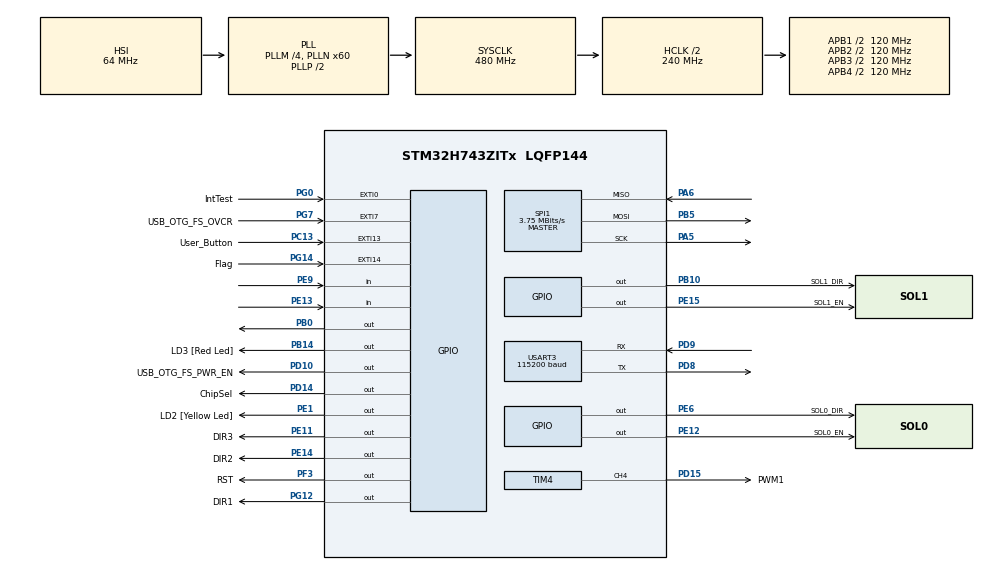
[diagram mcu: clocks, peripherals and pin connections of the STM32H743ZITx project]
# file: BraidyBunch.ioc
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CORTEX_M7.CPU_DCache=Enabled
CORTEX_M7.CPU_ICache=Enabled
FREERTOS.Tasks01=defaultTask,0,128,StartDefaultTask,Default,NULL,Dynamic,NULL,NULL
FREERTOS.configTOTAL_HEAP_SIZE=65534
Mcu.Family=STM32H7
Mcu.Name=STM32H743ZITx
Mcu.Package=LQFP144
NVIC.EXTI0_IRQn=true\:5\:0\:false\:false\:true\:true\:true\:true
NVIC.EXTI15_10_IRQn=true\:5\:0\:false\:false\:true\:true\:true\:true
NVIC.EXTI9_5_IRQn=true\:5\:0\:false\:false\:true\:true\:true\:true
NVIC.PriorityGroup=NVIC_PRIORITYGROUP_4
NVIC.TIM1_CC_IRQn=true\:5\:0\:false\:false\:true\:true\:true\:true
NVIC.TIM1_TRG_COM_IRQn=true\:5\:0\:false\:false\:true\:true\:true\:true
NVIC.TIM1_UP_IRQn=true\:5\:0\:false\:false\:true\:true\:true\:true
NVIC.TIM4_IRQn=true\:5\:0\:false\:false\:true\:true\:true\:true
NVIC.TIM8_UP_TIM13_IRQn=true\:0\:0\:false\:false\:true\:false\:false\:true
NVIC.TimeBase=TIM8_UP_TIM13_IRQn
NVIC.TimeBaseIP=TIM8
NVIC.USART3_IRQn=true\:5\:0\:false\:false\:true\:true\:true\:true
PA1.Signal=ETH_RX_CLK
PA2.Signal=ETH_MDIO
PA5.Mode=Full_Duplex_Master
PA5.Signal=SPI1_SCK
PA6.Mode=Full_Duplex_Master
PA6.Signal=SPI1_MISO
PA7.Signal=ETH_RX_DV
PB0.PinState=GPIO_PIN_SET
PB0.Signal=GPIO_Output
PB10.GPIO_Label=SOL1_DIR
PB10.Signal=GPIO_Output
PB13.Signal=ETH_TXD1
PB14.GPIO_Label=LD3 [Red Led]
PB14.PinState=GPIO_PIN_SET
PB14.Signal=GPIO_Output
PB5.Mode=Full_Duplex_Master
PB5.Signal=SPI1_MOSI
PC1.Signal=ETH_MDC
PC13.GPIO_Label=User_Button
PC13.GPIO_ModeDefaultEXTI=GPIO_MODE_IT_RISING
PC13.Signal=GPXTI13
PC4.Signal=ETH_RXD0
PC5.Signal=ETH_RXD1
PD10.GPIO_Label=USB_OTG_FS_PWR_EN
PD10.Signal=GPIO_Output
PD14.GPIO_Label=ChipSel
PD14.Signal=GPIO_Output
PD15.GPIO_Label=PWM1
PD15.Signal=S_TIM4_CH4
PD8.GPIO_Speed=GPIO_SPEED_FREQ_VERY_HIGH
PD8.Mode=Asynchronous
PD8.Signal=USART3_TX
PD9.GPIO_Speed=GPIO_SPEED_FREQ_VERY_HIGH
PD9.Mode=Asynchronous
PD9.Signal=USART3_RX
PE1.GPIO_Label=LD2 [Yellow Led]
PE1.PinState=GPIO_PIN_SET
PE1.Signal=GPIO_Output
PE11.GPIO_Label=DIR3
PE11.Signal=GPIO_Output
PE12.GPIO_Label=SOL0_EN
PE12.PinState=GPIO_PIN_RESET
PE12.Signal=GPIO_Output
PE13.Signal=GPIO_Input
PE14.GPIO_Label=DIR2
PE14.Signal=GPIO_Output
PE15.GPIO_Label=SOL1_EN
PE15.Signal=GPIO_Output
PE6.GPIO_Label=SOL0_DIR
PE6.Signal=GPIO_Output
PE9.Signal=GPIO_Input
PF3.GPIO_Label=RST
PF3.PinState=GPIO_PIN_SET
PF3.Signal=GPIO_Output
PG0.GPIO_Label=IntTest
PG0.Signal=GPXTI0
PG11.Signal=ETH_TX_EN
PG12.GPIO_Label=DIR1
PG12.Signal=GPIO_Output
PG13.Signal=ETH_TXD0
PG14.GPIO_Label=Flag
PG14.GPIO_ModeDefaultEXTI=GPIO_MODE_IT_FALLING
PG14.Signal=GPXTI14
PG7.GPIO_Label=USB_OTG_FS_OVCR
PG7.Signal=GPXTI7
ProjectManager.HeapSize=0x200
ProjectManager.StackSize=0x400
ProjectManager.TargetToolchain=MDK-ARM V5
RCC.ADCFreq_Value=129000000
RCC.APB1Freq_Value=120000000
RCC.APB2Freq_Value=120000000
RCC.APB3Freq_Value=120000000
RCC.APB4Freq_Value=120000000
RCC.CortexFreq_Value=480000000
RCC.D1PPRE=RCC_APB3_DIV2
RCC.D2PPRE1=RCC_APB1_DIV2
RCC.D2PPRE2=RCC_APB2_DIV2
RCC.D3PPRE=RCC_APB4_DIV2
RCC.DIVM1=4
RCC.DIVN1=60
RCC.HCLKFreq_Value=240000000
RCC.HPRE=RCC_HCLK_DIV2
RCC.PLL2FRACN=0
RCC.PLL3FRACN=0
RCC.PLLFRACN=0
RCC.SYSCLKFreq_VALUE=480000000
RCC.SYSCLKSource=RCC_SYSCLKSOURCE_PLLCLK
RCC.USBCLockSelection=RCC_USBCLKSOURCE_HSI48
RCC.USBFreq_Value=48000000
SH.S_TIM4_CH4.0=TIM4_CH4,PWM Generation4 CH4
SPI1.BaudRatePrescaler=SPI_BAUDRATEPRESCALER_128
SPI1.CalculateBaudRate=3.75 MBits/s
SPI1.DataSize=SPI_DATASIZE_8BIT
SPI1.Direction=SPI_DIRECTION_2LINES
SPI1.Mode=SPI_MODE_MASTER
SPI1.VirtualType=VM_MASTER
TIM1.Period=0x1D3
TIM1.Prescaler=0x3FF
TIM4.Channel-PWM\ Generation4\ CH4=TIM_CHANNEL_4
USART3.BaudRate=115200
USART3.ClockPrescaler=PRESCALER_DIV1
USART3.FIFOMode=FIFOMODE_DISABLE
USART3.RXFIFOThreshold=RXFIFO_THRESHOLD_HALFFULL
USART3.VirtualMode-Asynchronous=VM_ASYNC
VP_FREERTOS_VS_CMSIS_V1.Mode=CMSIS_V1
VP_SYS_VS_tim8.Mode=TIM8
VP_TIM1_VS_ClockSourceINT.Mode=Internal
VP_TIM2_VS_ClockSourceINT.Mode=Internal
VP_TIM2_VS_ClockSourceITR.Mode=TriggerSource_ITR4
VP_TIM2_VS_ControllerModeTrigger.Mode=Trigger Mode
VP_TIM4_VS_ClockSourceINT.Mode=Internal
board=NUCLEO-H743ZI2

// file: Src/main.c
/* USER CODE BEGIN Header */
/**
  ******************************************************************************
  * @file           : main.c
  * @brief          : Main program body
  ******************************************************************************
  * @attention
  *
  * <h2><center>&copy; Copyright (c) 2019 STMicroelectronics.
  * All rights reserved.</center></h2>
  *
  * This software component is licensed by ST under Ultimate Liberty license
  * SLA0044, the "License"; You may not use this file except in compliance with
  * the License. You may obtain a copy of the License at:
  *                             www.st.com/SLA0044
  *
  ******************************************************************************
  */
/* USER CODE END Header */

#include "main.h"
#include "cmsis_os.h"

/* USER CODE BEGIN Includes */
#include "string.h"
#include "stdio.h"

#include "messaging.h"
#include "led_task.h"
#include "StepperDriver.h"
#include "SolenoidDriver.h"
#include "Coordination.h"
/* USER CODE END Includes */

/* USER CODE BEGIN PD */
// IDK a good place to put this
//#define HAL_SPI_MODULE_ENABLED
/* USER CODE END PD */

SPI_HandleTypeDef hspi1;

TIM_HandleTypeDef htim1;
TIM_HandleTypeDef htim2;
TIM_HandleTypeDef htim4;

UART_HandleTypeDef huart3;

osThreadId defaultTaskHandle;

void SystemClock_Config(void);
static void MX_GPIO_Init(void);
static void MX_TIM2_Init(void);
static void MX_USART3_UART_Init(void);
static void MX_SPI1_Init(void);
static void MX_TIM4_Init(void);
static void MX_TIM1_Init(void);
void StartDefaultTask(void const * argument);

int main(void)
{

  /* Enable I-Cache---------------------------------------------------------*/
  SCB_EnableICache();

  /* Enable D-Cache---------------------------------------------------------*/
  SCB_EnableDCache();

  /* MCU Configuration--------------------------------------------------------*/

  /* Reset of all peripherals, Initializes the Flash interface and the Systick. */
  HAL_Init();

  /* Configure the system clock */
  SystemClock_Config();

  /* Initialize all configured peripherals */
  MX_GPIO_Init();
  MX_TIM2_Init();
  MX_USART3_UART_Init();
  MX_SPI1_Init();
  MX_TIM4_Init();
  MX_TIM1_Init();
  /* USER CODE BEGIN 2 */
  char buf[100];

  // Print out a friendly message.
  // NOTE: Use this before the messaging task is started, otherwise, use that
  sprintf(buf, "Startup\n\r");
  HAL_UART_Transmit(&huart3, (uint8_t *)buf, strlen(buf), 1000);

  MessagingTaskInit();
  led_task_init(LED_GREEN);
  led_task_init(LED_ORANGE);
  led_task_init(LED_RED);

  // Code to help figure out why PWM doesn't work
  //HAL_TIM_PWM_Start(&htim1, TIM_CHANNEL_1);
  //HAL_TIM_PWM_Start(&htim1, TIM_CHANNEL_3);

  StepperTaskInit();
  SolenoidTaskInit();
  CoordinationTaskInit();

  /* USER CODE END 2 */

  /* Create the thread(s) */
  /* definition and creation of defaultTask */
  osThreadDef(defaultTask, StartDefaultTask, osPriorityNormal, 0, 128);
  defaultTaskHandle = osThreadCreate(osThread(defaultTask), NULL);

  /* Start scheduler */
  osKernelStart();

  /* We should never get here as control is now taken by the scheduler */

  /* Infinite loop */
  while (1)
  {

  }
}

void SystemClock_Config(void)
{
  RCC_OscInitTypeDef RCC_OscInitStruct = {0};
  RCC_ClkInitTypeDef RCC_ClkInitStruct = {0};
  RCC_PeriphCLKInitTypeDef PeriphClkInitStruct = {0};

  /** Supply configuration update enable
  */
  HAL_PWREx_ConfigSupply(PWR_LDO_SUPPLY);
  /** Configure the main internal regulator output voltage
  */
  __HAL_PWR_VOLTAGESCALING_CONFIG(PWR_REGULATOR_VOLTAGE_SCALE0);

  while(!__HAL_PWR_GET_FLAG(PWR_FLAG_VOSRDY)) {}
  /** Initializes the CPU, AHB and APB busses clocks
  */
  RCC_OscInitStruct.OscillatorType = RCC_OSCILLATORTYPE_HSI;
  RCC_OscInitStruct.HSIState = RCC_HSI_DIV1;
  RCC_OscInitStruct.HSICalibrationValue = RCC_HSICALIBRATION_DEFAULT;
  RCC_OscInitStruct.PLL.PLLState = RCC_PLL_ON;
  RCC_OscInitStruct.PLL.PLLSource = RCC_PLLSOURCE_HSI;
  RCC_OscInitStruct.PLL.PLLM = 4;
  RCC_OscInitStruct.PLL.PLLN = 60;
  RCC_OscInitStruct.PLL.PLLP = 2;
  RCC_OscInitStruct.PLL.PLLQ = 2;
  RCC_OscInitStruct.PLL.PLLR = 2;
  RCC_OscInitStruct.PLL.PLLRGE = RCC_PLL1VCIRANGE_3;
  RCC_OscInitStruct.PLL.PLLVCOSEL = RCC_PLL1VCOWIDE;
  RCC_OscInitStruct.PLL.PLLFRACN = 0;
  if (HAL_RCC_OscConfig(&RCC_OscInitStruct) != HAL_OK)
  {
    Error_Handler();
  }
  /** Initializes the CPU, AHB and APB busses clocks
  */
  RCC_ClkInitStruct.ClockType = RCC_CLOCKTYPE_HCLK|RCC_CLOCKTYPE_SYSCLK
                              |RCC_CLOCKTYPE_PCLK1|RCC_CLOCKTYPE_PCLK2
                              |RCC_CLOCKTYPE_D3PCLK1|RCC_CLOCKTYPE_D1PCLK1;
  RCC_ClkInitStruct.SYSCLKSource = RCC_SYSCLKSOURCE_PLLCLK;
  RCC_ClkInitStruct.SYSCLKDivider = RCC_SYSCLK_DIV1;
  RCC_ClkInitStruct.AHBCLKDivider = RCC_HCLK_DIV2;
  RCC_ClkInitStruct.APB3CLKDivider = RCC_APB3_DIV2;
  RCC_ClkInitStruct.APB1CLKDivider = RCC_APB1_DIV2;
  RCC_ClkInitStruct.APB2CLKDivider = RCC_APB2_DIV2;
  RCC_ClkInitStruct.APB4CLKDivider = RCC_APB4_DIV2;

  if (HAL_RCC_ClockConfig(&RCC_ClkInitStruct, FLASH_LATENCY_4) != HAL_OK)
  {
    Error_Handler();
  }
  PeriphClkInitStruct.PeriphClockSelection = RCC_PERIPHCLK_USART3|RCC_PERIPHCLK_SPI1;
  PeriphClkInitStruct.Spi123ClockSelection = RCC_SPI123CLKSOURCE_PLL;
  PeriphClkInitStruct.Usart234578ClockSelection = RCC_USART234578CLKSOURCE_D2PCLK1;
  if (HAL_RCCEx_PeriphCLKConfig(&PeriphClkInitStruct) != HAL_OK)
  {
    Error_Handler();
  }
}

static void MX_SPI1_Init(void)
{

  /* SPI1 parameter configuration*/
  hspi1.Instance = SPI1;
  hspi1.Init.Mode = SPI_MODE_MASTER;
  hspi1.Init.Direction = SPI_DIRECTION_2LINES;
  hspi1.Init.DataSize = SPI_DATASIZE_8BIT;
  hspi1.Init.CLKPolarity = SPI_POLARITY_LOW;
  hspi1.Init.CLKPhase = SPI_PHASE_1EDGE;
  hspi1.Init.NSS = SPI_NSS_SOFT;
  hspi1.Init.BaudRatePrescaler = SPI_BAUDRATEPRESCALER_128;
  hspi1.Init.FirstBit = SPI_FIRSTBIT_MSB;
  hspi1.Init.TIMode = SPI_TIMODE_DISABLE;
  hspi1.Init.CRCCalculation = SPI_CRCCALCULATION_DISABLE;
  hspi1.Init.CRCPolynomial = 0x0;
  hspi1.Init.NSSPMode = SPI_NSS_PULSE_ENABLE;
  hspi1.Init.NSSPolarity = SPI_NSS_POLARITY_LOW;
  hspi1.Init.FifoThreshold = SPI_FIFO_THRESHOLD_01DATA;
  hspi1.Init.TxCRCInitializationPattern = SPI_CRC_INITIALIZATION_ALL_ZERO_PATTERN;
  hspi1.Init.RxCRCInitializationPattern = SPI_CRC_INITIALIZATION_ALL_ZERO_PATTERN;
  hspi1.Init.MasterSSIdleness = SPI_MASTER_SS_IDLENESS_00CYCLE;
  hspi1.Init.MasterInterDataIdleness = SPI_MASTER_INTERDATA_IDLENESS_00CYCLE;
  hspi1.Init.MasterReceiverAutoSusp = SPI_MASTER_RX_AUTOSUSP_DISABLE;
  hspi1.Init.MasterKeepIOState = SPI_MASTER_KEEP_IO_STATE_DISABLE;
  hspi1.Init.IOSwap = SPI_IO_SWAP_DISABLE;
  if (HAL_SPI_Init(&hspi1) != HAL_OK)
  {
    Error_Handler();
  }

}

static void MX_TIM1_Init(void)
{

  TIM_ClockConfigTypeDef sClockSourceConfig = {0};
  TIM_MasterConfigTypeDef sMasterConfig = {0};

  htim1.Instance = TIM1;
  htim1.Init.Prescaler = 0x3FF;
  htim1.Init.CounterMode = TIM_COUNTERMODE_UP;
  htim1.Init.Period = 0x1D3;
  htim1.Init.ClockDivision = TIM_CLOCKDIVISION_DIV1;
  htim1.Init.RepetitionCounter = 0;
  htim1.Init.AutoReloadPreload = TIM_AUTORELOAD_PRELOAD_DISABLE;
  if (HAL_TIM_Base_Init(&htim1) != HAL_OK)
  {
    Error_Handler();
  }
  sClockSourceConfig.ClockSource = TIM_CLOCKSOURCE_INTERNAL;
  if (HAL_TIM_ConfigClockSource(&htim1, &sClockSourceConfig) != HAL_OK)
  {
    Error_Handler();
  }
  sMasterConfig.MasterOutputTrigger = TIM_TRGO_RESET;
  sMasterConfig.MasterOutputTrigger2 = TIM_TRGO2_RESET;
  sMasterConfig.MasterSlaveMode = TIM_MASTERSLAVEMODE_DISABLE;
  if (HAL_TIMEx_MasterConfigSynchronization(&htim1, &sMasterConfig) != HAL_OK)
  {
    Error_Handler();
  }

}

static void MX_TIM2_Init(void)
{

  TIM_ClockConfigTypeDef sClockSourceConfig = {0};
  TIM_SlaveConfigTypeDef sSlaveConfig = {0};
  TIM_MasterConfigTypeDef sMasterConfig = {0};

  htim2.Instance = TIM2;
  htim2.Init.Prescaler = 0;
  htim2.Init.CounterMode = TIM_COUNTERMODE_UP;
  htim2.Init.Period = 0;
  htim2.Init.ClockDivision = TIM_CLOCKDIVISION_DIV1;
  htim2.Init.AutoReloadPreload = TIM_AUTORELOAD_PRELOAD_DISABLE;
  if (HAL_TIM_Base_Init(&htim2) != HAL_OK)
  {
    Error_Handler();
  }
  sClockSourceConfig.ClockSource = TIM_CLOCKSOURCE_INTERNAL;
  if (HAL_TIM_ConfigClockSource(&htim2, &sClockSourceConfig) != HAL_OK)
  {
    Error_Handler();
  }
  sSlaveConfig.SlaveMode = TIM_SLAVEMODE_TRIGGER;
  sSlaveConfig.InputTrigger = TIM_TS_ITR4;
  if (HAL_TIM_SlaveConfigSynchro(&htim2, &sSlaveConfig) != HAL_OK)
  {
    Error_Handler();
  }
  sMasterConfig.MasterOutputTrigger = TIM_TRGO_RESET;
  sMasterConfig.MasterSlaveMode = TIM_MASTERSLAVEMODE_DISABLE;
  if (HAL_TIMEx_MasterConfigSynchronization(&htim2, &sMasterConfig) != HAL_OK)
  {
    Error_Handler();
  }

}

static void MX_TIM4_Init(void)
{

  TIM_ClockConfigTypeDef sClockSourceConfig = {0};
  TIM_MasterConfigTypeDef sMasterConfig = {0};
  TIM_OC_InitTypeDef sConfigOC = {0};

  htim4.Instance = TIM4;
  htim4.Init.Prescaler = 0;
  htim4.Init.CounterMode = TIM_COUNTERMODE_UP;
  htim4.Init.Period = 0;
  htim4.Init.ClockDivision = TIM_CLOCKDIVISION_DIV1;
  htim4.Init.AutoReloadPreload = TIM_AUTORELOAD_PRELOAD_DISABLE;
  if (HAL_TIM_Base_Init(&htim4) != HAL_OK)
  {
    Error_Handler();
  }
  sClockSourceConfig.ClockSource = TIM_CLOCKSOURCE_INTERNAL;
  if (HAL_TIM_ConfigClockSource(&htim4, &sClockSourceConfig) != HAL_OK)
  {
    Error_Handler();
  }
  if (HAL_TIM_PWM_Init(&htim4) != HAL_OK)
  {
    Error_Handler();
  }
  sMasterConfig.MasterOutputTrigger = TIM_TRGO_RESET;
  sMasterConfig.MasterSlaveMode = TIM_MASTERSLAVEMODE_DISABLE;
  if (HAL_TIMEx_MasterConfigSynchronization(&htim4, &sMasterConfig) != HAL_OK)
  {
    Error_Handler();
  }
  sConfigOC.OCMode = TIM_OCMODE_PWM1;
  sConfigOC.Pulse = 0;
  sConfigOC.OCPolarity = TIM_OCPOLARITY_HIGH;
  sConfigOC.OCFastMode = TIM_OCFAST_DISABLE;
  if (HAL_TIM_PWM_ConfigChannel(&htim4, &sConfigOC, TIM_CHANNEL_4) != HAL_OK)
  {
    Error_Handler();
  }
  HAL_TIM_MspPostInit(&htim4);

}

static void MX_USART3_UART_Init(void)
{

  huart3.Instance = USART3;
  huart3.Init.BaudRate = 115200;
  huart3.Init.WordLength = UART_WORDLENGTH_8B;
  huart3.Init.StopBits = UART_STOPBITS_1;
  huart3.Init.Parity = UART_PARITY_NONE;
  huart3.Init.Mode = UART_MODE_TX_RX;
  huart3.Init.HwFlowCtl = UART_HWCONTROL_NONE;
  huart3.Init.OverSampling = UART_OVERSAMPLING_16;
  huart3.Init.OneBitSampling = UART_ONE_BIT_SAMPLE_DISABLE;
  huart3.Init.ClockPrescaler = UART_PRESCALER_DIV1;
  huart3.AdvancedInit.AdvFeatureInit = UART_ADVFEATURE_NO_INIT;
  if (HAL_UART_Init(&huart3) != HAL_OK)
  {
    Error_Handler();
  }
  if (HAL_UARTEx_SetTxFifoThreshold(&huart3, UART_TXFIFO_THRESHOLD_1_8) != HAL_OK)
  {
    Error_Handler();
  }
  if (HAL_UARTEx_SetRxFifoThreshold(&huart3, UART_RXFIFO_THRESHOLD_1_2) != HAL_OK)
  {
    Error_Handler();
  }
  if (HAL_UARTEx_DisableFifoMode(&huart3) != HAL_OK)
  {
    Error_Handler();
  }

}

static void MX_GPIO_Init(void)
{
  GPIO_InitTypeDef GPIO_InitStruct = {0};

  /* GPIO Ports Clock Enable */
  __HAL_RCC_GPIOE_CLK_ENABLE();
  __HAL_RCC_GPIOC_CLK_ENABLE();
  __HAL_RCC_GPIOF_CLK_ENABLE();
  __HAL_RCC_GPIOA_CLK_ENABLE();
  __HAL_RCC_GPIOB_CLK_ENABLE();
  __HAL_RCC_GPIOG_CLK_ENABLE();
  __HAL_RCC_GPIOD_CLK_ENABLE();

  /*Configure GPIO pin Output Level */
  HAL_GPIO_WritePin(GPIOE, SOL0_DIR_Pin|DIR3_Pin|SOL0_EN_Pin|DIR2_Pin
                          |SOL1_EN_Pin, GPIO_PIN_RESET);

  /*Configure GPIO pin Output Level */
  HAL_GPIO_WritePin(RST_GPIO_Port, RST_Pin, GPIO_PIN_SET);

  /*Configure GPIO pin Output Level */
  HAL_GPIO_WritePin(GPIOB, GPIO_PIN_0|LD3_Pin, GPIO_PIN_SET);

  /*Configure GPIO pin Output Level */
  HAL_GPIO_WritePin(SOL1_DIR_GPIO_Port, SOL1_DIR_Pin, GPIO_PIN_RESET);

  /*Configure GPIO pin Output Level */
  HAL_GPIO_WritePin(GPIOD, USB_OTG_FS_PWR_EN_Pin|ChipSel_Pin, GPIO_PIN_RESET);

  /*Configure GPIO pin Output Level */
  HAL_GPIO_WritePin(DIR1_GPIO_Port, DIR1_Pin, GPIO_PIN_RESET);

  /*Configure GPIO pin Output Level */
  HAL_GPIO_WritePin(LD2_GPIO_Port, LD2_Pin, GPIO_PIN_SET);

  /*Configure GPIO pins : SOL0_DIR_Pin DIR3_Pin SOL0_EN_Pin DIR2_Pin
                           SOL1_EN_Pin LD2_Pin */
  GPIO_InitStruct.Pin = SOL0_DIR_Pin|DIR3_Pin|SOL0_EN_Pin|DIR2_Pin
                          |SOL1_EN_Pin|LD2_Pin;
  GPIO_InitStruct.Mode = GPIO_MODE_OUTPUT_PP;
  GPIO_InitStruct.Pull = GPIO_NOPULL;
  GPIO_InitStruct.Speed = GPIO_SPEED_FREQ_LOW;
  HAL_GPIO_Init(GPIOE, &GPIO_InitStruct);

  /*Configure GPIO pin : User_Button_Pin */
  GPIO_InitStruct.Pin = User_Button_Pin;
  GPIO_InitStruct.Mode = GPIO_MODE_IT_RISING;
  GPIO_InitStruct.Pull = GPIO_NOPULL;
  HAL_GPIO_Init(User_Button_GPIO_Port, &GPIO_InitStruct);

  /*Configure GPIO pin : RST_Pin */
  GPIO_InitStruct.Pin = RST_Pin;
  GPIO_InitStruct.Mode = GPIO_MODE_OUTPUT_PP;
  GPIO_InitStruct.Pull = GPIO_NOPULL;
  GPIO_InitStruct.Speed = GPIO_SPEED_FREQ_LOW;
  HAL_GPIO_Init(RST_GPIO_Port, &GPIO_InitStruct);

  /*Configure GPIO pins : PC1 PC4 PC5 */
  GPIO_InitStruct.Pin = GPIO_PIN_1|GPIO_PIN_4|GPIO_PIN_5;
  GPIO_InitStruct.Mode = GPIO_MODE_AF_PP;
  GPIO_InitStruct.Pull = GPIO_NOPULL;
  GPIO_InitStruct.Speed = GPIO_SPEED_FREQ_LOW;
  GPIO_InitStruct.Alternate = GPIO_AF11_ETH;
  HAL_GPIO_Init(GPIOC, &GPIO_InitStruct);

  /*Configure GPIO pins : PA1 PA2 PA7 */
  GPIO_InitStruct.Pin = GPIO_PIN_1|GPIO_PIN_2|GPIO_PIN_7;
  GPIO_InitStruct.Mode = GPIO_MODE_AF_PP;
  GPIO_InitStruct.Pull = GPIO_NOPULL;
  GPIO_InitStruct.Speed = GPIO_SPEED_FREQ_LOW;
  GPIO_InitStruct.Alternate = GPIO_AF11_ETH;
  HAL_GPIO_Init(GPIOA, &GPIO_InitStruct);

  /*Configure GPIO pins : PB0 SOL1_DIR_Pin LD3_Pin */
  GPIO_InitStruct.Pin = GPIO_PIN_0|SOL1_DIR_Pin|LD3_Pin;
  GPIO_InitStruct.Mode = GPIO_MODE_OUTPUT_PP;
  GPIO_InitStruct.Pull = GPIO_NOPULL;
  GPIO_InitStruct.Speed = GPIO_SPEED_FREQ_LOW;
  HAL_GPIO_Init(GPIOB, &GPIO_InitStruct);

  /*Configure GPIO pins : IntTest_Pin USB_OTG_FS_OVCR_Pin */
  GPIO_InitStruct.Pin = IntTest_Pin|USB_OTG_FS_OVCR_Pin;
  GPIO_InitStruct.Mode = GPIO_MODE_IT_RISING;
  GPIO_InitStruct.Pull = GPIO_NOPULL;
  HAL_GPIO_Init(GPIOG, &GPIO_InitStruct);

  /*Configure GPIO pins : PE9 PE13 */
  GPIO_InitStruct.Pin = GPIO_PIN_9|GPIO_PIN_13;
  GPIO_InitStruct.Mode = GPIO_MODE_INPUT;
  GPIO_InitStruct.Pull = GPIO_NOPULL;
  HAL_GPIO_Init(GPIOE, &GPIO_InitStruct);

  /*Configure GPIO pin : PB13 */
  GPIO_InitStruct.Pin = GPIO_PIN_13;
  GPIO_InitStruct.Mode = GPIO_MODE_AF_PP;
  GPIO_InitStruct.Pull = GPIO_NOPULL;
  GPIO_InitStruct.Speed = GPIO_SPEED_FREQ_LOW;
  GPIO_InitStruct.Alternate = GPIO_AF11_ETH;
  HAL_GPIO_Init(GPIOB, &GPIO_InitStruct);

  /*Configure GPIO pins : USB_OTG_FS_PWR_EN_Pin ChipSel_Pin */
  GPIO_InitStruct.Pin = USB_OTG_FS_PWR_EN_Pin|ChipSel_Pin;
  GPIO_InitStruct.Mode = GPIO_MODE_OUTPUT_PP;
  GPIO_InitStruct.Pull = GPIO_NOPULL;
  GPIO_InitStruct.Speed = GPIO_SPEED_FREQ_LOW;
  HAL_GPIO_Init(GPIOD, &GPIO_InitStruct);

  /*Configure GPIO pins : PG11 PG13 */
  GPIO_InitStruct.Pin = GPIO_PIN_11|GPIO_PIN_13;
  GPIO_InitStruct.Mode = GPIO_MODE_AF_PP;
  GPIO_InitStruct.Pull = GPIO_NOPULL;
  GPIO_InitStruct.Speed = GPIO_SPEED_FREQ_LOW;
  GPIO_InitStruct.Alternate = GPIO_AF11_ETH;
  HAL_GPIO_Init(GPIOG, &GPIO_InitStruct);

  /*Configure GPIO pin : DIR1_Pin */
  GPIO_InitStruct.Pin = DIR1_Pin;
  GPIO_InitStruct.Mode = GPIO_MODE_OUTPUT_PP;
  GPIO_InitStruct.Pull = GPIO_NOPULL;
  GPIO_InitStruct.Speed = GPIO_SPEED_FREQ_LOW;
  HAL_GPIO_Init(DIR1_GPIO_Port, &GPIO_InitStruct);

  /*Configure GPIO pin : Flag_Pin */
  GPIO_InitStruct.Pin = Flag_Pin;
  GPIO_InitStruct.Mode = GPIO_MODE_IT_FALLING;
  GPIO_InitStruct.Pull = GPIO_NOPULL;
  HAL_GPIO_Init(Flag_GPIO_Port, &GPIO_InitStruct);

  /* EXTI interrupt init*/
  HAL_NVIC_SetPriority(EXTI0_IRQn, 5, 0);
  HAL_NVIC_EnableIRQ(EXTI0_IRQn);

  HAL_NVIC_SetPriority(EXTI9_5_IRQn, 5, 0);
  HAL_NVIC_EnableIRQ(EXTI9_5_IRQn);

  HAL_NVIC_SetPriority(EXTI15_10_IRQn, 5, 0);
  HAL_NVIC_EnableIRQ(EXTI15_10_IRQn);

}

/* USER CODE BEGIN 4 */
extern int buttonPressed;

void HAL_GPIO_EXTI_Callback(uint16_t GPIO_Pin){
    switch(GPIO_Pin){
        case User_Button_Pin:
            buttonPressed = 1;
            break;
        case Flag_Pin:
            BSP_MotorControl_FlagInterruptHandler();
            break;
        default:

            break;
    }

}
/* USER CODE END 4 */

void StartDefaultTask(void const * argument)
{
  for(;;)
  {
    osDelay(1);
  }
}

void HAL_TIM_PeriodElapsedCallback(TIM_HandleTypeDef *htim)
{
  if (htim->Instance == TIM8) {
    HAL_IncTick();
  }
}

void Error_Handler(void)
{
}

/************************ (C) COPYRIGHT STMicroelectronics *****END OF FILE****/
